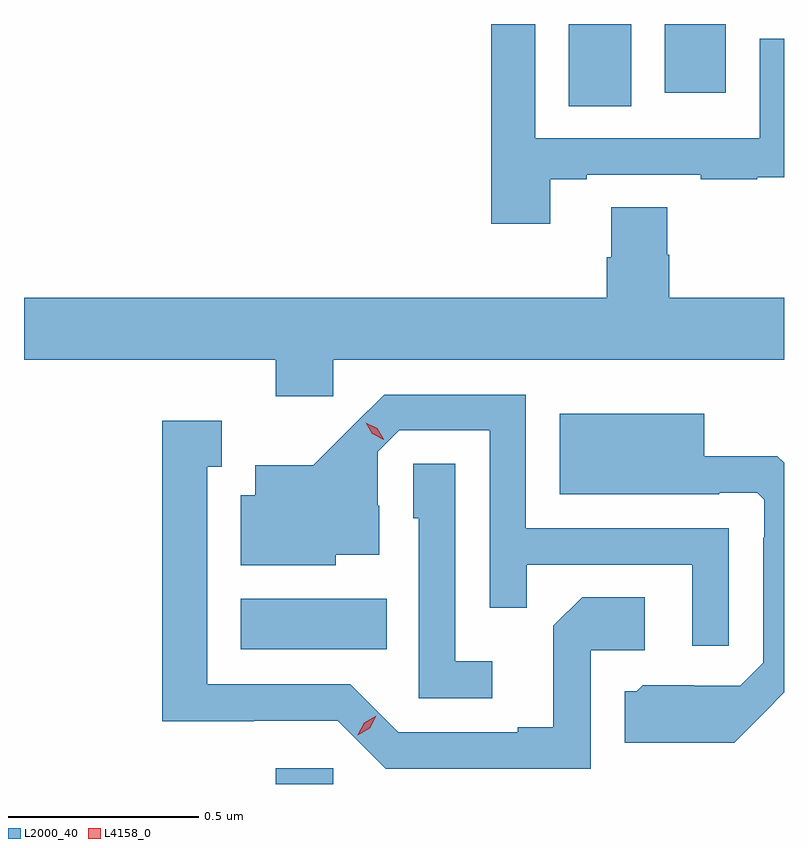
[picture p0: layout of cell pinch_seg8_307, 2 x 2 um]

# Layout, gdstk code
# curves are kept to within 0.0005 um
import gdstk
lib = gdstk.Library(unit=1e-6, precision=1e-09)
def R(c, l, rs):  # rectangles x0, y0, x1, y1
    for r in rs: c.add(gdstk.rectangle(r[:2], r[2:], *l))
def P(c, l, *ps):  # polygons
    for p in ps: c.add(gdstk.Polygon(p, *l))
L2000_40 = (2000, 40)
L4158_0 = (4158, 0)

pinch_seg8_307 = lib.new_cell('pinch_seg8_307')
R(pinch_seg8_307, L2000_40, [(515.975,1136.696,516.126,1136.737), (515.882,1137.05,516.266,1137.184), (516.746,1138.48,516.91,1138.696), (516.998,1138.515,517.159,1138.696)])
P(pinch_seg8_307, L2000_40, [(516.697,1138.287),(516.793,1138.287),(516.793,1138.299),(517.093,1138.299),(517.093,1138.287),(517.241,1138.287),(517.241,1138.293),(517.312,1138.293),(517.312,1138.657),(517.248,1138.657),(517.248,1138.395),(516.657,1138.395),(516.657,1138.696),(516.541,1138.696),(516.541,1138.17),(516.697,1138.17)],
  [(516.126,1137.812),(517.312,1137.812),(517.312,1137.976),(517.01,1137.976),(517.01,1138.089),(517.005,1138.089),(517.005,1138.214),(516.857,1138.214),(516.857,1138.082),(516.845,1138.082),(516.845,1137.976),(515.312,1137.976),(515.312,1137.812),(515.975,1137.812),(515.975,1137.717),(516.126,1137.717)],
  [(517.167,1137.369),(516.633,1137.369),(516.633,1137.72),(516.26,1137.72),(516.073,1137.535),(515.921,1137.535),(515.921,1137.456),(515.882,1137.456),(515.882,1137.272),(516.132,1137.272),(516.132,1137.299),(516.247,1137.299),(516.247,1137.428),(516.243,1137.428),(516.243,1137.57),(516.3,1137.627),(516.537,1137.627),(516.537,1137.16),(516.635,1137.16),(516.635,1137.273),(517.071,1137.273),(517.071,1137.06),(517.167,1137.06)],
  [(517.261,1136.885),(517.312,1136.937),(517.312,1137.541),(517.294,1137.559),(517.102,1137.559),(517.102,1137.67),(516.722,1137.67),(516.722,1137.458),(517.142,1137.458),(517.142,1137.462),(517.242,1137.462),(517.26,1137.444),(517.26,1137.344),(517.257,1137.344),(517.257,1137.015),(517.197,1136.955),(517.074,1136.955),(517.074,1136.956),(516.94,1136.956),(516.924,1136.94),(516.893,1136.94),(516.893,1136.804),(517.181,1136.804)],
  [(516.804,1137.048),(516.946,1137.048),(516.946,1137.188),(516.781,1137.188),(516.705,1137.112),(516.705,1136.845),(516.611,1136.845),(516.611,1136.832),(516.297,1136.832),(516.171,1136.958),(515.794,1136.958),(515.794,1137.531),(515.833,1137.531),(515.833,1137.652),(515.676,1137.652),(515.676,1136.861),(515.916,1136.861),(515.916,1136.862),(516.138,1136.862),(516.264,1136.736),(516.804,1136.736)],
  [(516.544,1137.019),(516.447,1137.019),(516.447,1137.539),(516.336,1137.539),(516.336,1137.396),(516.351,1137.396),(516.351,1136.922),(516.544,1136.922)])
P(pinch_seg8_307, L4158_0, [(516.259,1137.602),(516.228,1137.618),(516.211,1137.647),(516.211,1137.647),(516.211,1137.647),(516.242,1137.632),(516.259,1137.603),(516.259,1137.602)],
  [(516.19,1136.824),(516.19,1136.825),(516.207,1136.857),(516.239,1136.876),(516.239,1136.876),(516.239,1136.876),(516.222,1136.843),(516.19,1136.824)])

lib.write_gds('pinch_seg8_307.gds')
